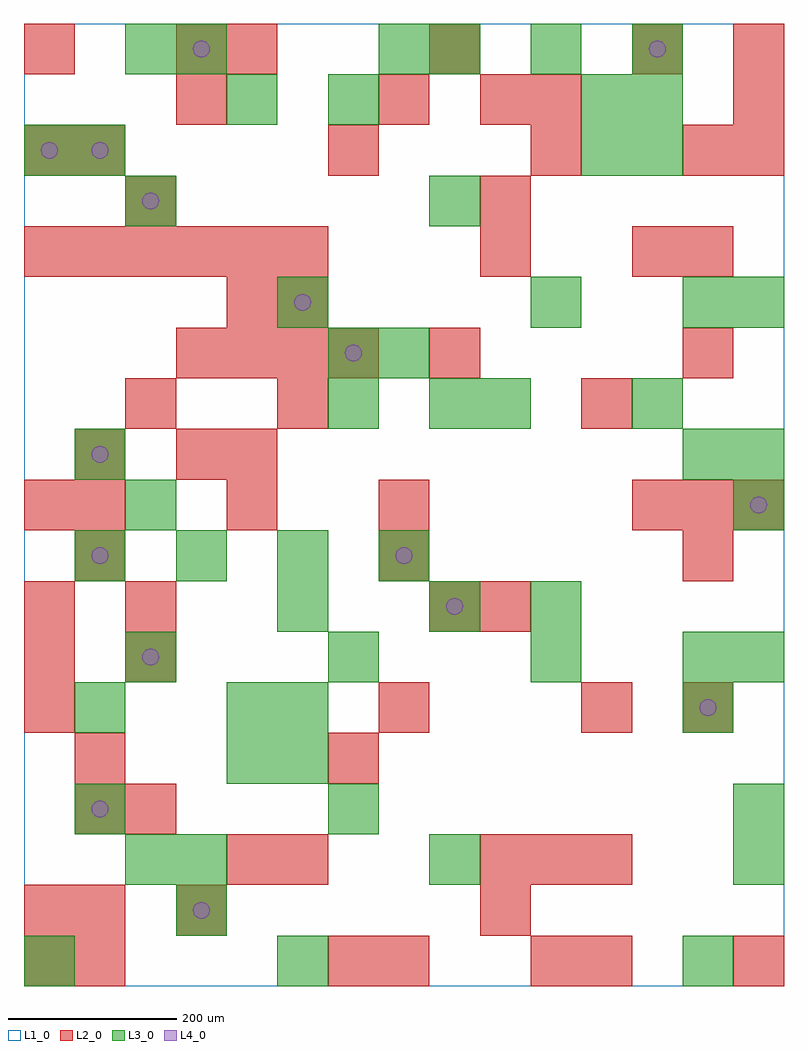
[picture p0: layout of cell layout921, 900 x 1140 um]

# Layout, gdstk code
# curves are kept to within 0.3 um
import gdstk
lib = gdstk.Library(unit=1e-6, precision=1e-09)
def R(c, l, rs):  # rectangles x0, y0, x1, y1
    for r in rs: c.add(gdstk.rectangle(r[:2], r[2:], *l))
def A(c, l, x, y, w, h, nx, ny, dx, dy):  # array of equal rectangles
    R(c, l, [(x+i*dx, y+j*dy, x+i*dx+w, y+j*dy+h) for i in range(nx) for j in range(ny)])
def P(c, l, *ps):  # polygons
    for p in ps: c.add(gdstk.Polygon(p, *l))
L1_0 = (1, 0)
L2_0 = (2, 0)
L3_0 = (3, 0)
L4_0 = (4, 0)

layout921 = lib.new_cell('layout921')
R(layout921, L1_0, [(0,0,900,1140)])
A(layout921, L2_0, 540, 120, 60, 60, 3, 1, 60, 0)
A(layout921, L2_0, 60, 240, 60, 60, 1, 3, 0, 360)
A(layout921, L2_0, 0, 300, 60, 60, 1, 3, 0, 60)
A(layout921, L2_0, 120, 420, 60, 60, 1, 3, 0, 240)
A(layout921, L2_0, 60, 480, 60, 60, 3, 1, 360, 0)
A(layout921, L2_0, 60, 540, 60, 60, 3, 1, 180, 0)
A(layout921, L2_0, 720, 540, 60, 60, 3, 1, 60, 0)
A(layout921, L2_0, 180, 720, 60, 60, 4, 1, 60, 0)
A(layout921, L2_0, 780, 720, 60, 60, 1, 3, 0, 120)
A(layout921, L2_0, 0, 840, 60, 60, 6, 1, 60, 0)
A(layout921, L2_0, 840, 960, 60, 60, 1, 3, 0, 60)
A(layout921, L2_0, 240, 1080, 60, 60, 3, 1, 240, 0)
R(layout921, L2_0, [(0,0,60,60), (60,0,120,60), (360,0,420,60), (420,0,480,60), (600,0,660,60), (660,0,720,60), (840,0,900,60), (0,60,60,120), (60,60,120,120), (180,60,240,120), (540,60,600,120), (240,120,300,180), (300,120,360,180), (60,180,120,240), (120,180,180,240), (360,240,420,300), (420,300,480,360), (660,300,720,360), (780,300,840,360), (120,360,180,420), (480,420,540,480), (540,420,600,480), (0,540,60,600), (180,600,240,660), (240,600,300,660), (300,660,360,720), (660,660,720,720), (480,720,540,780), (240,780,300,840), (300,780,360,840), (540,840,600,900), (720,840,780,900), (540,900,600,960), (0,960,60,1020), (360,960,420,1020), (600,960,660,1020), (180,1020,240,1080), (420,1020,480,1080), (540,1020,600,1080), (600,1020,660,1080), (0,1080,60,1140), (180,1080,240,1140)])
A(layout921, L3_0, 840, 180, 60, 60, 1, 3, 0, 180)
A(layout921, L3_0, 120, 360, 60, 60, 3, 1, 240, 0)
A(layout921, L3_0, 480, 420, 60, 60, 1, 3, 0, 240)
A(layout921, L3_0, 60, 480, 60, 60, 4, 1, 120, 0)
A(layout921, L3_0, 480, 1080, 60, 60, 3, 1, 120, 0)
R(layout921, L3_0, [(0,0,60,60), (300,0,360,60), (780,0,840,60), (180,60,240,120), (120,120,180,180), (180,120,240,180), (480,120,540,180), (840,120,900,180), (60,180,120,240), (360,180,420,240), (240,240,300,300), (300,240,360,300), (60,300,120,360), (240,300,300,360), (300,300,360,360), (780,300,840,360), (780,360,840,420), (300,420,360,480), (600,420,660,480), (120,540,180,600), (60,600,120,660), (780,600,840,660), (840,600,900,660), (360,660,420,720), (540,660,600,720), (720,660,780,720), (360,720,420,780), (420,720,480,780), (300,780,360,840), (600,780,660,840), (780,780,840,840), (840,780,900,840), (120,900,180,960), (0,960,60,1020), (60,960,120,1020), (660,960,720,1020), (720,960,780,1020), (240,1020,300,1080), (360,1020,420,1080), (660,1020,720,1080), (720,1020,780,1080), (120,1080,180,1140), (180,1080,240,1140), (420,1080,480,1140)])
P(layout921, L4_0, [(40,990),(39.239,993.827),(37.071,997.071),(33.827,999.239),(30,1000),(26.173,999.239),(22.929,997.071),(20.761,993.827),(20,990),(20.761,986.173),(22.929,982.929),(26.173,980.761),(30,980),(33.827,980.761),(37.071,982.929),(39.239,986.173)],
  [(100,210),(99.239,213.827),(97.071,217.071),(93.827,219.239),(90,220),(86.173,219.239),(82.929,217.071),(80.761,213.827),(80,210),(80.761,206.173),(82.929,202.929),(86.173,200.761),(90,200),(93.827,200.761),(97.071,202.929),(99.239,206.173)],
  [(100,510),(99.239,513.827),(97.071,517.071),(93.827,519.239),(90,520),(86.173,519.239),(82.929,517.071),(80.761,513.827),(80,510),(80.761,506.173),(82.929,502.929),(86.173,500.761),(90,500),(93.827,500.761),(97.071,502.929),(99.239,506.173)],
  [(100,630),(99.239,633.827),(97.071,637.071),(93.827,639.239),(90,640),(86.173,639.239),(82.929,637.071),(80.761,633.827),(80,630),(80.761,626.173),(82.929,622.929),(86.173,620.761),(90,620),(93.827,620.761),(97.071,622.929),(99.239,626.173)],
  [(100,990),(99.239,993.827),(97.071,997.071),(93.827,999.239),(90,1000),(86.173,999.239),(82.929,997.071),(80.761,993.827),(80,990),(80.761,986.173),(82.929,982.929),(86.173,980.761),(90,980),(93.827,980.761),(97.071,982.929),(99.239,986.173)],
  [(160,390),(159.239,393.827),(157.071,397.071),(153.827,399.239),(150,400),(146.173,399.239),(142.929,397.071),(140.761,393.827),(140,390),(140.761,386.173),(142.929,382.929),(146.173,380.761),(150,380),(153.827,380.761),(157.071,382.929),(159.239,386.173)],
  [(160,930),(159.239,933.827),(157.071,937.071),(153.827,939.239),(150,940),(146.173,939.239),(142.929,937.071),(140.761,933.827),(140,930),(140.761,926.173),(142.929,922.929),(146.173,920.761),(150,920),(153.827,920.761),(157.071,922.929),(159.239,926.173)],
  [(220,90),(219.239,93.827),(217.071,97.071),(213.827,99.239),(210,100),(206.173,99.239),(202.929,97.071),(200.761,93.827),(200,90),(200.761,86.173),(202.929,82.929),(206.173,80.761),(210,80),(213.827,80.761),(217.071,82.929),(219.239,86.173)],
  [(220,1110),(219.239,1113.827),(217.071,1117.071),(213.827,1119.239),(210,1120),(206.173,1119.239),(202.929,1117.071),(200.761,1113.827),(200,1110),(200.761,1106.173),(202.929,1102.929),(206.173,1100.761),(210,1100),(213.827,1100.761),(217.071,1102.929),(219.239,1106.173)],
  [(340,810),(339.239,813.827),(337.071,817.071),(333.827,819.239),(330,820),(326.173,819.239),(322.929,817.071),(320.761,813.827),(320,810),(320.761,806.173),(322.929,802.929),(326.173,800.761),(330,800),(333.827,800.761),(337.071,802.929),(339.239,806.173)],
  [(400,750),(399.239,753.827),(397.071,757.071),(393.827,759.239),(390,760),(386.173,759.239),(382.929,757.071),(380.761,753.827),(380,750),(380.761,746.173),(382.929,742.929),(386.173,740.761),(390,740),(393.827,740.761),(397.071,742.929),(399.239,746.173)],
  [(460,510),(459.239,513.827),(457.071,517.071),(453.827,519.239),(450,520),(446.173,519.239),(442.929,517.071),(440.761,513.827),(440,510),(440.761,506.173),(442.929,502.929),(446.173,500.761),(450,500),(453.827,500.761),(457.071,502.929),(459.239,506.173)],
  [(520,450),(519.239,453.827),(517.071,457.071),(513.827,459.239),(510,460),(506.173,459.239),(502.929,457.071),(500.761,453.827),(500,450),(500.761,446.173),(502.929,442.929),(506.173,440.761),(510,440),(513.827,440.761),(517.071,442.929),(519.239,446.173)],
  [(760,1110),(759.239,1113.827),(757.071,1117.071),(753.827,1119.239),(750,1120),(746.173,1119.239),(742.929,1117.071),(740.761,1113.827),(740,1110),(740.761,1106.173),(742.929,1102.929),(746.173,1100.761),(750,1100),(753.827,1100.761),(757.071,1102.929),(759.239,1106.173)],
  [(820,330),(819.239,333.827),(817.071,337.071),(813.827,339.239),(810,340),(806.173,339.239),(802.929,337.071),(800.761,333.827),(800,330),(800.761,326.173),(802.929,322.929),(806.173,320.761),(810,320),(813.827,320.761),(817.071,322.929),(819.239,326.173)],
  [(880,570),(879.239,573.827),(877.071,577.071),(873.827,579.239),(870,580),(866.173,579.239),(862.929,577.071),(860.761,573.827),(860,570),(860.761,566.173),(862.929,562.929),(866.173,560.761),(870,560),(873.827,560.761),(877.071,562.929),(879.239,566.173)])

lib.write_gds('layout921.gds')
